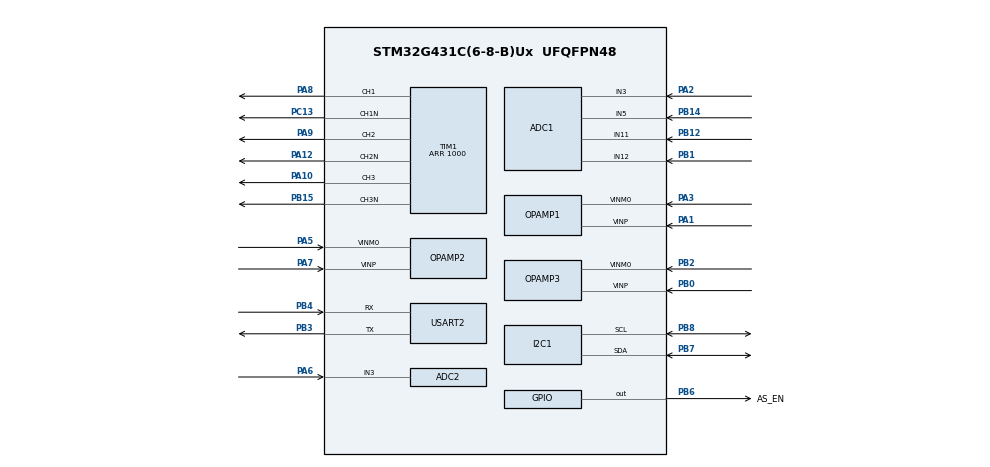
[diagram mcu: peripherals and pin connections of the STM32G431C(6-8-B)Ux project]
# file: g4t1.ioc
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ADC1.Channel-0\#ChannelRegularConversion=ADC_CHANNEL_3
ADC1.NbrOfConversionFlag=1
ADC1.OffsetNumber-0\#ChannelRegularConversion=ADC_OFFSET_NONE
ADC1.Rank-0\#ChannelRegularConversion=1
ADC1.SamplingTime-0\#ChannelRegularConversion=ADC_SAMPLETIME_2CYCLES_5
ADC1.master=1
ADC2.Channel-0\#ChannelRegularConversion=ADC_CHANNEL_3
ADC2.NbrOfConversionFlag=1
ADC2.OffsetNumber-0\#ChannelRegularConversion=ADC_OFFSET_NONE
ADC2.Rank-0\#ChannelRegularConversion=1
ADC2.SamplingTime-0\#ChannelRegularConversion=ADC_SAMPLETIME_2CYCLES_5
I2C1.I2C_Fall_Time=50
I2C1.I2C_Rise_Time=50
I2C1.Timing=0x10B09CE8
Mcu.Family=STM32G4
Mcu.Name=STM32G431C(6-8-B)Ux
Mcu.Package=UFQFPN48
NVIC.PriorityGroup=NVIC_PRIORITYGROUP_4
NVIC.TIM1_BRK_TIM15_IRQn=true\:0\:0\:false\:false\:true\:true\:true\:true
OPAMP1.PowerMode=OPAMP_POWERMODE_HIGHSPEED
OPAMP2.PowerMode=OPAMP_POWERMODE_HIGHSPEED
OPAMP3.PowerMode=OPAMP_POWERMODE_HIGHSPEED
PA1.Mode=PGA Connected
PA1.Signal=OPAMP1_VINP
PA10.Signal=S_TIM1_CH3
PA12.Mode=PWM Generation2 CH2 CH2N
PA12.Signal=TIM1_CH2N
PA13.Mode=Serial_Wire
PA13.Signal=SYS_JTMS-SWDIO
PA14.Mode=Serial_Wire
PA14.Signal=SYS_JTCK-SWCLK
PA2.Signal=SharedAnalog_PA2
PA3.Mode=PGA Connected
PA3.Signal=OPAMP1_VINM0
PA5.Mode=PGA Connected
PA5.Signal=OPAMP2_VINM0
PA6.Signal=SharedAnalog_PA6
PA7.Mode=PGA Connected
PA7.Signal=OPAMP2_VINP
PA8.Signal=S_TIM1_CH1
PA9.Signal=S_TIM1_CH2
PB0.Mode=PGA Connected
PB0.Signal=OPAMP3_VINP
PB1.Signal=SharedAnalog_PB1
PB12.Mode=IN11-Single-Ended
PB12.Signal=ADC1_IN11
PB14.Mode=IN5-Single-Ended
PB14.Signal=ADC1_IN5
PB15.Mode=PWM Generation3 CH3 CH3N
PB15.Signal=TIM1_CH3N
PB2.Mode=PGA Connected
PB2.Signal=OPAMP3_VINM0
PB3.Mode=Asynchronous
PB3.Signal=USART2_TX
PB4.Mode=Asynchronous
PB4.Signal=USART2_RX
PB6.GPIO_Label=AS_EN
PB6.GPIO_Speed=GPIO_SPEED_FREQ_HIGH
PB6.Signal=GPIO_Output
PB7.GPIO_Pu=GPIO_PULLUP
PB7.GPIO_Speed=GPIO_SPEED_FREQ_HIGH
PB7.Mode=I2C
PB7.Signal=I2C1_SDA
PB8-BOOT0.GPIO_Pu=GPIO_PULLUP
PB8-BOOT0.GPIO_Speed=GPIO_SPEED_FREQ_HIGH
PB8-BOOT0.Mode=I2C
PB8-BOOT0.Signal=I2C1_SCL
PC13.Mode=PWM Generation1 CH1 CH1N
PC13.Signal=TIM1_CH1N
ProjectManager.HeapSize=0x200
ProjectManager.StackSize=0x400
ProjectManager.TargetToolchain=STM32CubeIDE
RCC.ADC12Freq_Value=80000000
RCC.AHBFreq_Value=80000000
RCC.APB1Freq_Value=80000000
RCC.APB1TimFreq_Value=80000000
RCC.APB2Freq_Value=80000000
RCC.APB2TimFreq_Value=80000000
RCC.CortexFreq_Value=80000000
RCC.EXTERNAL_CLOCK_VALUE=12288000
RCC.HCLKFreq_Value=80000000
RCC.HSE_VALUE=8000000
RCC.HSI48_VALUE=48000000
RCC.HSI_VALUE=16000000
RCC.LSE_VALUE=32768
RCC.PLLN=10
RCC.SYSCLKFreq_VALUE=80000000
RCC.SYSCLKSource=RCC_SYSCLKSOURCE_PLLCLK
RCC.USBFreq_Value=80000000
RCC.VCOOutputFreq_Value=160000000
SH.S_TIM1_CH1.0=TIM1_CH1,PWM Generation1 CH1 CH1N
SH.S_TIM1_CH2.0=TIM1_CH2,PWM Generation2 CH2 CH2N
SH.S_TIM1_CH3.0=TIM1_CH3,PWM Generation3 CH3 CH3N
SH.SharedAnalog_PA2.0=ADC1_IN3,IN3-Single-Ended
SH.SharedAnalog_PA2.1=OPAMP1_VOUT,PGA Connected
SH.SharedAnalog_PA6.0=ADC2_IN3,IN3-Single-Ended
SH.SharedAnalog_PA6.1=OPAMP2_VOUT,PGA Connected
SH.SharedAnalog_PB1.0=ADC1_IN12,IN12-Single-Ended
SH.SharedAnalog_PB1.1=OPAMP3_VOUT,PGA Connected
TIM1.AutomaticOutput=TIM_AUTOMATICOUTPUT_ENABLE
TIM1.BreakState=TIM_BREAK_ENABLE
TIM1.Channel-PWM\ Generation1\ CH1\ CH1N=TIM_CHANNEL_1
TIM1.Channel-PWM\ Generation2\ CH2\ CH2N=TIM_CHANNEL_2
TIM1.Channel-PWM\ Generation3\ CH3\ CH3N=TIM_CHANNEL_3
TIM1.ClockDivision=TIM_CLOCKDIVISION_DIV2
TIM1.DeadTime=20
TIM1.DeadTimePreload=DISABLE
TIM1.OC1Preload_PWM=ENABLE
TIM1.OCFastMode_PWM-PWM\ Generation1\ CH1\ CH1N=TIM_OCFAST_ENABLE
TIM1.OCFastMode_PWM-PWM\ Generation2\ CH2\ CH2N=TIM_OCFAST_ENABLE
TIM1.OCFastMode_PWM-PWM\ Generation3\ CH3\ CH3N=TIM_OCFAST_ENABLE
TIM1.OffStateIDLEMode=TIM_OSSI_ENABLE
TIM1.OffStateRunMode=TIM_OSSR_ENABLE
TIM1.PeriodNoDither=1000
USART2.VirtualMode-Asynchronous=VM_ASYNC
VP_SYS_VS_DBSignals.Mode=DisableDeadBatterySignals
VP_TIM1_VS_ClockSourceINT.Mode=Internal
board=custom

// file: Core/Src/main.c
/* USER CODE BEGIN Header */
/**
  ******************************************************************************
  * @file           : main.c
  * @brief          : Main program body
  ******************************************************************************
  * @attention
  *
  * Copyright (c) 2025 STMicroelectronics.
  * All rights reserved.
  *
  * This software is licensed under terms that can be found in the LICENSE file
  * in the root directory of this software component.
  * If no LICENSE file comes with this software, it is provided AS-IS.
  *
  ******************************************************************************
  */
/* USER CODE END Header */
#include "main.h"
#include "adc.h"
#include "i2c.h"
#include "opamp.h"
#include "tim.h"
#include "usart.h"
#include "gpio.h"

/* USER CODE BEGIN Includes */
#include "project.h"
#include "uart.h"
#include "str_buf.h"
#include "bldc_motor.h"
#include "bldc_driver.h"
#include "angle_sensor.h"

/* USER CODE END Includes */

/* USER CODE BEGIN PV */
bldc_motor_t m1;
bldc_driver_t md1;
angle_sens_t as1;
uart_t u1;

#define MAIN_STR_BUF_SIZE (256)
char main_str_buf[MAIN_STR_BUF_SIZE];

/* USER CODE END PV */

void SystemClock_Config(void);

/* USER CODE BEGIN 0 */
void waitabit(uint32_t x) {
	while(x) x--;
}
/* USER CODE END 0 */

int main(void)
{

  /* USER CODE BEGIN 1 */
	uint32_t now, last_tick, waitcnt;
	float dt, sum_dt, tim_dt;
	uint16_t state_cnt;
  /* USER CODE END 1 */

  /* MCU Configuration--------------------------------------------------------*/

  /* Reset of all peripherals, Initializes the Flash interface and the Systick. */
  HAL_Init();

  /* Configure the system clock */
  SystemClock_Config();

  /* Initialize all configured peripherals */
  MX_GPIO_Init();
  MX_TIM1_Init();
  MX_USART2_UART_Init();
  MX_I2C1_Init();
  MX_OPAMP1_Init();
  MX_OPAMP2_Init();
  MX_OPAMP3_Init();
  MX_ADC1_Init();
  MX_ADC2_Init();
  /* USER CODE BEGIN 2 */
  uart_init(&u1, USART2);

  angle_sensor_init(&as1, &hi2c1);
  angle_sensor_set_enable_pin(&as1, AS_EN_GPIO_Port, AS_EN_Pin);
  angle_sensor_disable(&as1);

  bldc_driver_init(&md1, TIM1);
  //bldc_driver_set_enable_pin(&md1, MOT0_EN_GPIO_Port, MOT0_EN_Pin);

  bldc_motor_init(&m1, &md1, &as1);
  bldc_motor_set_ctrl_type(&m1, BLDC_MOTOR_CTRL_TYPE_VELOCITY_OPENLOOP);
  //bldc_motor_set_ctrl_type(&m1, BLDC_MOTOR_CTRL_TYPE_ANGLE_OPENLOOP);
  //bldc_motor_set_ctrl_type(&m1, BLDC_MOTOR_CTRL_TYPE_VELOCITY);
  bldc_motor_set_motor_parameters(&m1, 7, 360, 0.4f);

  bldc_motor_set_id_pid(&m1, 1.0f, 1.0f, 0.0f);
  bldc_motor_set_iq_pid(&m1, 1.0f, 1.0f, 0.0f);
  bldc_motor_set_angle_pid(&m1, 1.0f, 1.0f, 0.0f);
  bldc_motor_set_speed_pid(&m1, 1.0f, 1.0f, 0.0f);

  bldc_motor_set_voltage_limit(&m1, 0.25f);
  bldc_motor_set_speed_limit(&m1, 1.0f);
  bldc_motor_set_target_speed(&m1, 10.0f);
  bldc_motor_set_target_angle_deg(&m1, 90.0f);

  angle_sensor_enable(&as1);
  bldc_driver_enable(&md1);
  //bldc_driver_set_pwm(&md1, 100, 200, 300);
  bldc_motor_enable(&m1);
  m1.set.vq = 0.45f;

  //while(1);

  /* USER CODE END 2 */

  /* Infinite loop */
  /* USER CODE BEGIN WHILE */

  now = HAL_GetTick();
  last_tick = now;
  uart_send_string_blocking(&u1, "hello from the other side :-D\n");
  angle_sensor_get(&as1);
  str_buf_clear(main_str_buf, MAIN_STR_BUF_SIZE);
  str_buf_append_uint16(main_str_buf, MAIN_STR_BUF_SIZE, as1.raw_angle);
  str_buf_append_string(main_str_buf, MAIN_STR_BUF_SIZE, "\n");
  uart_send_string_blocking(&u1, main_str_buf);
  waitcnt = 1;//0000;
  sum_dt = 0.0f;
  tim_dt = 0.0f;

  state_cnt = 0;
  bldc_motor_set_target_speed(&m1, 10.0f);
  m1.set.vq = 0.45f;

  /* USER CODE END 2 */

  /* Infinite loop */
  /* USER CODE BEGIN WHILE */
  while (1)
  {
	  waitabit(waitcnt);

	  now = HAL_GetTick();
	  dt = (float)(now - last_tick)/1000.0f; // in ms
	  last_tick = now;

	  bldc_motor_move(&m1, dt);

	  str_buf_clear(main_str_buf, MAIN_STR_BUF_SIZE);
	  str_buf_append_float(main_str_buf, MAIN_STR_BUF_SIZE, tim_dt, 6);
	  str_buf_append_string(main_str_buf, MAIN_STR_BUF_SIZE, ",");
	  str_buf_append_float(main_str_buf, MAIN_STR_BUF_SIZE, m1.calc.el_angle_rad, 5);
	  str_buf_append_string(main_str_buf, MAIN_STR_BUF_SIZE, ",");
	  str_buf_append_uint16(main_str_buf, MAIN_STR_BUF_SIZE, as1.raw_angle);
	  str_buf_append_string(main_str_buf, MAIN_STR_BUF_SIZE, ",");
	  str_buf_append_float(main_str_buf, MAIN_STR_BUF_SIZE, as1.angle_rad, 5);
	  str_buf_append_string(main_str_buf, MAIN_STR_BUF_SIZE, ",");
	  str_buf_append_float(main_str_buf, MAIN_STR_BUF_SIZE, as1.angle_rad_filtered, 5);
	  str_buf_append_string(main_str_buf, MAIN_STR_BUF_SIZE, ",");
	  str_buf_append_uint16(main_str_buf, MAIN_STR_BUF_SIZE, m1.current.adc_u);
	  str_buf_append_string(main_str_buf, MAIN_STR_BUF_SIZE, ",");
	  str_buf_append_uint16(main_str_buf, MAIN_STR_BUF_SIZE, m1.current.adc_v);
	  str_buf_append_string(main_str_buf, MAIN_STR_BUF_SIZE, ",");
	  str_buf_append_uint16(main_str_buf, MAIN_STR_BUF_SIZE, m1.current.adc_w);
	  str_buf_append_string(main_str_buf, MAIN_STR_BUF_SIZE, ",");
	  str_buf_append_uint16(main_str_buf, MAIN_STR_BUF_SIZE, m1.current.adc_poti);
	  str_buf_append_string(main_str_buf, MAIN_STR_BUF_SIZE, ",");
	  str_buf_append_uint16(main_str_buf, MAIN_STR_BUF_SIZE, m1.current.adc_ntc);
	  str_buf_append_string(main_str_buf, MAIN_STR_BUF_SIZE, ",");
	  str_buf_append_float(main_str_buf, MAIN_STR_BUF_SIZE, m1.calc.u_out, 5);
	  str_buf_append_string(main_str_buf, MAIN_STR_BUF_SIZE, ",");
	  str_buf_append_float(main_str_buf, MAIN_STR_BUF_SIZE, m1.calc.v_out, 5);
	  str_buf_append_string(main_str_buf, MAIN_STR_BUF_SIZE, ",");
	  str_buf_append_float(main_str_buf, MAIN_STR_BUF_SIZE, m1.calc.w_out, 5);
	  str_buf_append_string(main_str_buf, MAIN_STR_BUF_SIZE, ",");

	  str_buf_append_string(main_str_buf, MAIN_STR_BUF_SIZE, "\n");
	  uart_send_string_blocking(&u1, main_str_buf);

	  tim_dt += dt;
	  sum_dt += dt;
	  	  if(sum_dt > 2.0f) {
	  		  sum_dt = 0.0f;
	  		  /*
	  		  if(m1.target.speed_rot_s > 1.1f) {
	  			  bldc_motor_set_target_speed(&m1, 1.0f);
	  		  }
	  		  else {
	  			  bldc_motor_set_target_speed(&m1, 2.0f);
	  		  }
	  		  */
	  		  /*m1.calc.shaft_angle_rad = 0;
	  		  m1.calc.shaft_angle_rad_old = 0;
	  		  bldc_motor_set_target_angle_deg(&m1, 90.0f);
	  		  bldc_motor_enable(&m1);
	  		  */
	  		  switch(state_cnt) {
	  		  case 0:
	  			  state_cnt = 1;
	  			  bldc_motor_set_target_speed(&m1, 20.0f);
	  			  m1.set.vq = 0.55f;
	  			  break;
			  case 1:
				  state_cnt = 2;
				  bldc_motor_set_target_speed(&m1, 30.0f);
				  m1.set.vq = 0.65f;
				  break;
			  case 2:
				  state_cnt = 3;
				  bldc_motor_set_target_speed(&m1, 20.0f);
				  m1.set.vq = 0.55f;
				  break;
			  case 3:
				  state_cnt = 4;
				  bldc_motor_set_target_speed(&m1, 5.0f);
				  m1.set.vq = 0.35f;
				  break;
			  case 4:
				  state_cnt = 5;
				  bldc_motor_set_target_speed(&m1, 0.0f);
				  m1.set.vq = 0.0f;
				  break;
			  case 5:
				  state_cnt = 0;
				  bldc_motor_set_target_speed(&m1, 10.0f);
				  m1.set.vq = 0.45f;
				  break;
	  		  }
	  	  }

    /* USER CODE END WHILE */

  }
}

void SystemClock_Config(void)
{
  LL_FLASH_SetLatency(LL_FLASH_LATENCY_2);
  while(LL_FLASH_GetLatency() != LL_FLASH_LATENCY_2)
  {
  }
  LL_PWR_SetRegulVoltageScaling(LL_PWR_REGU_VOLTAGE_SCALE1);
  LL_RCC_HSI_Enable();
   /* Wait till HSI is ready */
  while(LL_RCC_HSI_IsReady() != 1)
  {
  }

  LL_RCC_HSI_SetCalibTrimming(64);
  LL_RCC_PLL_ConfigDomain_SYS(LL_RCC_PLLSOURCE_HSI, LL_RCC_PLLM_DIV_1, 10, LL_RCC_PLLR_DIV_2);
  LL_RCC_PLL_EnableDomain_SYS();
  LL_RCC_PLL_Enable();
   /* Wait till PLL is ready */
  while(LL_RCC_PLL_IsReady() != 1)
  {
  }

  LL_RCC_SetSysClkSource(LL_RCC_SYS_CLKSOURCE_PLL);
   /* Wait till System clock is ready */
  while(LL_RCC_GetSysClkSource() != LL_RCC_SYS_CLKSOURCE_STATUS_PLL)
  {
  }

  /* Set AHB prescaler*/
  LL_RCC_SetAHBPrescaler(LL_RCC_SYSCLK_DIV_1);
  LL_RCC_SetAPB1Prescaler(LL_RCC_APB1_DIV_1);
  LL_RCC_SetAPB2Prescaler(LL_RCC_APB2_DIV_1);
  LL_SetSystemCoreClock(80000000);

   /* Update the time base */
  if (HAL_InitTick (TICK_INT_PRIORITY) != HAL_OK)
  {
    Error_Handler();
  }
}

void Error_Handler(void)
{
  __disable_irq();
  while (1)
  {
  }
}
